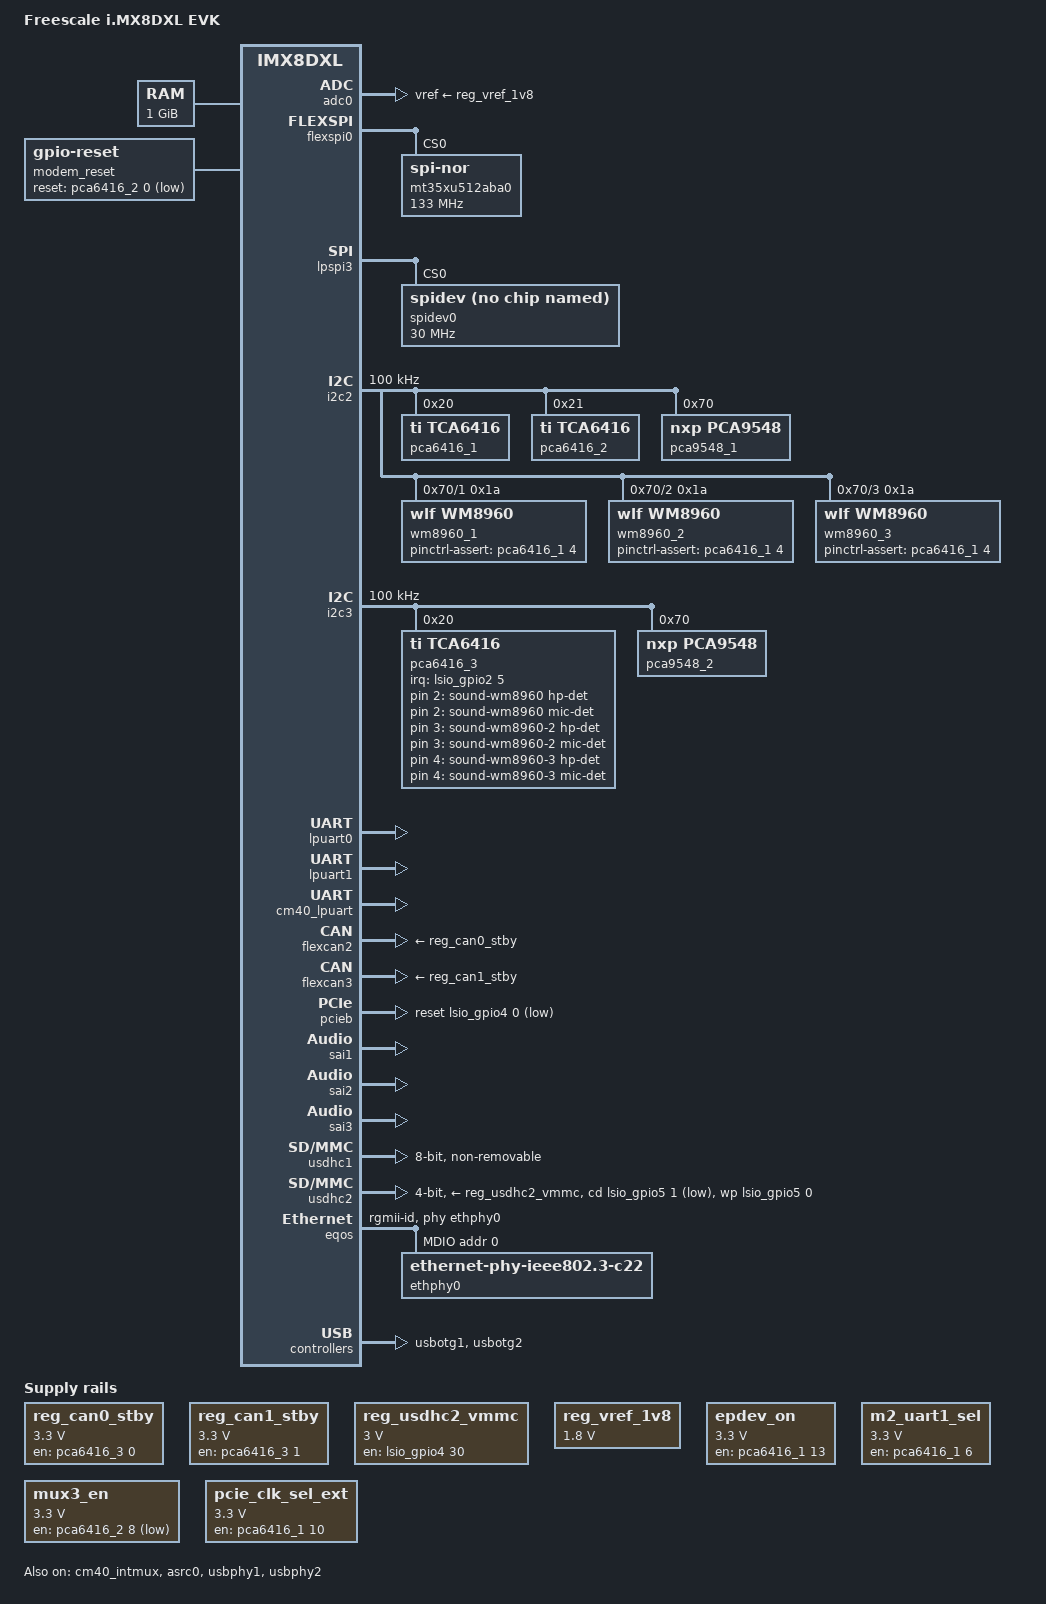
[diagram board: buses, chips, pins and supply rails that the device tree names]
// SPDX-License-Identifier: GPL-2.0+
/*
 * Copyright 2019~2020 NXP
 */

/dts-v1/;

#include "imx8dxl.dtsi"

/ {
	model = "Freescale i.MX8DXL EVK";
	compatible = "fsl,imx8dxl-mek", "fsl,imx8dxl";

	chosen {
		stdout-path = &lpuart0;
	};

	memory@80000000 {
		device_type = "memory";
		reg = <0x00000000 0x80000000 0 0x40000000>;
	};

	reserved-memory {
		#address-cells = <2>;
		#size-cells = <2>;
		ranges;

		/*
		 * 0x8800_0000 ~ 0x8FFF_FFFF is reserved for M4
		 * Shouldn't be used at A core and Linux side.
		 *
		 */
		m4_reserved: m4@0x88000000 {
			no-map;
			reg = <0 0x88000000 0 0x8000000>;
		};

		rpmsg_reserved: rpmsg@0x90200000 {
			no-map;
			reg = <0 0x90200000 0 0x200000>;
		};

/*
 *		Memory reserved for optee usage. Please do not use.
 *		This will be automaticky added to dtb if OP-TEE is installed.
 *		optee@96000000 {
 *   			reg = <0 0x96000000 0 0x2000000>;
 *			no-map;
 *		};
 */
		/* global autoconfigured region for contiguous allocations */
		linux,cma {
			compatible = "shared-dma-pool";
			reusable;
			size = <0 0x14000000>;
			alloc-ranges = <0 0x98000000 0 0x14000000>;
			linux,cma-default;
		};

		vdev0vring0: vdev0vring0@90000000 {
                        compatible = "shared-dma-pool";
			reg = <0 0x90000000 0 0x8000>;
			no-map;
		};

		vdev0vring1: vdev0vring1@90008000 {
                        compatible = "shared-dma-pool";
			reg = <0 0x90008000 0 0x8000>;
			no-map;
		};

		vdev1vring0: vdev1vring0@90010000 {
                        compatible = "shared-dma-pool";
			reg = <0 0x90010000 0 0x8000>;
			no-map;
		};

		vdev1vring1: vdev1vring1@90018000 {
                        compatible = "shared-dma-pool";
			reg = <0 0x90018000 0 0x8000>;
			no-map;
		};

		vdevbuffer: vdevbuffer {
                        compatible = "shared-dma-pool";
			reg = <0 0x90400000 0 0x100000>;
			no-map;
		};
	};

	modem_reset: modem-reset {
		compatible = "gpio-reset";
		reset-gpios = <&pca6416_2 0 GPIO_ACTIVE_LOW>;
		reset-delay-us = <2000>;
		reset-post-delay-ms = <40>;
		#reset-cells = <0>;
	};

	reg_can0_stby: regulator-can0-stby {
		compatible = "regulator-fixed";
		regulator-name = "can0-stby";
		regulator-min-microvolt = <3300000>;
		regulator-max-microvolt = <3300000>;
		gpio = <&pca6416_3 0 GPIO_ACTIVE_HIGH>;
		enable-active-high;
	};

	reg_can1_stby: regulator-can1-stby {
		compatible = "regulator-fixed";
		regulator-name = "can1-stby";
		regulator-min-microvolt = <3300000>;
		regulator-max-microvolt = <3300000>;
		gpio = <&pca6416_3 1 GPIO_ACTIVE_HIGH>;
		enable-active-high;
	};

	reg_fec1_sel: regfec1_sel {
		compatible = "regulator-fixed";
		regulator-name = "fec1_supply";
		regulator-min-microvolt = <3300000>;
		regulator-max-microvolt = <3300000>;
		gpio = <&pca6416_1 11 GPIO_ACTIVE_LOW>;
		regulator-always-on;
		status = "disabled";
	};

	reg_fec1_io: regfec1_io {
		compatible = "regulator-fixed";
		regulator-name = "fec1_io_supply";
		regulator-min-microvolt = <1800000>;
		regulator-max-microvolt = <1800000>;
		gpio = <&max7322 0 GPIO_ACTIVE_HIGH>;
		enable-active-high;
		regulator-always-on;
		status = "disabled";
	};

	reg_usdhc2_vmmc: usdhc2-vmmc {
		compatible = "regulator-fixed";
		regulator-name = "SD1_SPWR";
		regulator-min-microvolt = <3000000>;
		regulator-max-microvolt = <3000000>;
		gpio = <&lsio_gpio4 30 GPIO_ACTIVE_HIGH>;
		enable-active-high;
		off-on-delay-us = <3480>;
	};

	reg_vref_1v8: regulator-adc-vref {
		compatible = "regulator-fixed";
		regulator-name = "vref_1v8";
		regulator-min-microvolt = <1800000>;
		regulator-max-microvolt = <1800000>;
	};

	epdev_on: fixedregulator@100 {
		compatible = "regulator-fixed";
		regulator-min-microvolt = <3300000>;
		regulator-max-microvolt = <3300000>;
		regulator-name = "epdev_on";
		gpio = <&pca6416_1 13 GPIO_ACTIVE_HIGH>;
		enable-active-high;
	};

	m2_uart1_sel: fixedregulator@101 {
		compatible = "regulator-fixed";
		regulator-min-microvolt = <3300000>;
		regulator-max-microvolt = <3300000>;
		regulator-name = "m2_uart1_sel";
		gpio = <&pca6416_1 6 GPIO_ACTIVE_HIGH>;
		enable-active-high;
		regulator-always-on;
	};

	mux3_en: fixedregulator@102 {
		compatible = "regulator-fixed";
		regulator-min-microvolt = <3300000>;
		regulator-max-microvolt = <3300000>;
		regulator-name = "mux3_en";
		gpio = <&pca6416_2 8 GPIO_ACTIVE_LOW>;
		regulator-always-on;
	};

	pcie_clk_sel_ext: fixedregulator@103 {
		compatible = "regulator-fixed";
		regulator-min-microvolt = <3300000>;
		regulator-max-microvolt = <3300000>;
		regulator-name = "clk_ext_sel";
		gpio = <&pca6416_1 10 GPIO_ACTIVE_HIGH>;
		enable-active-high;
		regulator-always-on;
	};

	sound-wm8960 {
		compatible = "fsl,imx7d-evk-wm8960",
			   "fsl,imx-audio-wm8960";
		model = "wm8960-audio";
		cpu-dai = <&sai1>;
		audio-codec = <&wm8960_1>;
		asrc-controller = <&asrc0>;
		codec-master;
		/*
		 * hp-det = <hp-det-pin hp-det-polarity>;
		 * hp-det-pin: JD1 JD2  or JD3
		 * hp-det-polarity = 0: hp detect high for headphone
		 * hp-det-polarity = 1: hp detect high for speaker
		 */
		hp-det = <2 0>;
		hp-det-gpios = <&pca6416_3 2 GPIO_ACTIVE_HIGH>;
		mic-det-gpios = <&pca6416_3 2 GPIO_ACTIVE_HIGH>;
		audio-routing =
			"Headphone Jack", "HP_L",
			"Headphone Jack", "HP_R",
			"Ext Spk", "SPK_LP",
			"Ext Spk", "SPK_LN",
			"Ext Spk", "SPK_RP",
			"Ext Spk", "SPK_RN",
			"LINPUT1", "Mic Jack",
			"Mic Jack", "MICB",
			"CPU-Playback", "ASRC-Playback",
			"Playback", "CPU-Playback",
			"ASRC-Capture", "CPU-Capture",
			"CPU-Capture", "Capture";
	};

	sound-wm8960-2 {
		compatible = "fsl,imx7d-evk-wm8960",
			   "fsl,imx-audio-wm8960";
		model = "wm8960-audio-2";
		cpu-dai = <&sai2>;
		audio-codec = <&wm8960_2>;
		codec-master;
		capture-only;
		/*
		 * hp-det = <hp-det-pin hp-det-polarity>;
		 * hp-det-pin: JD1 JD2  or JD3
		 * hp-det-polarity = 0: hp detect high for headphone
		 * hp-det-polarity = 1: hp detect high for speaker
		 */
		hp-det = <2 0>;
		hp-det-gpios = <&pca6416_3 3 GPIO_ACTIVE_HIGH>;
		mic-det-gpios = <&pca6416_3 3 GPIO_ACTIVE_HIGH>;
		audio-routing =
			"Headphone Jack", "HP_L",
			"Headphone Jack", "HP_R",
			"Ext Spk", "SPK_LP",
			"Ext Spk", "SPK_LN",
			"Ext Spk", "SPK_RP",
			"Ext Spk", "SPK_RN",
			"LINPUT1", "Mic Jack",
			"Mic Jack", "MICB",
			"Playback", "CPU-Playback",
			"CPU-Capture", "Capture";
	};

	sound-wm8960-3 {
		compatible = "fsl,imx7d-evk-wm8960",
			   "fsl,imx-audio-wm8960";
		model = "wm8960-audio-3";
		cpu-dai = <&sai3>;
		audio-codec = <&wm8960_3>;
		codec-master;
		capture-only;
		/*
		 * hp-det = <hp-det-pin hp-det-polarity>;
		 * hp-det-pin: JD1 JD2  or JD3
		 * hp-det-polarity = 0: hp detect high for headphone
		 * hp-det-polarity = 1: hp detect high for speaker
		 */
		hp-det = <2 0>;
		hp-det-gpios = <&pca6416_3 4 GPIO_ACTIVE_HIGH>;
		mic-det-gpios = <&pca6416_3 4 GPIO_ACTIVE_HIGH>;
		audio-routing =
			"Headphone Jack", "HP_L",
			"Headphone Jack", "HP_R",
			"Ext Spk", "SPK_LP",
			"Ext Spk", "SPK_LN",
			"Ext Spk", "SPK_RP",
			"Ext Spk", "SPK_RN",
			"LINPUT1", "Mic Jack",
			"Mic Jack", "MICB",
			"Playback", "CPU-Playback",
			"CPU-Capture", "Capture";
	};
};

&adc0 {
	vref-supply = <&reg_vref_1v8>;
	status = "okay";
};

&flexspi0 {
	pinctrl-names = "default";
	pinctrl-0 = <&pinctrl_flexspi0>;
	interrupts = <GIC_SPI 34 IRQ_TYPE_LEVEL_HIGH>;
	status = "okay";

	mt35xu512aba0: flash@0 {
		reg = <0>;
		#address-cells = <1>;
		#size-cells = <1>;
		compatible = "jedec,spi-nor";
		spi-max-frequency = <133000000>;
		spi-tx-bus-width = <4>;
		spi-rx-bus-width = <4>;
	};
};

&imx8dxl_cm4 {
	memory-region = <&vdev0vring0>, <&vdev0vring1>, <&vdevbuffer>,
			<&vdev1vring0>, <&vdev1vring1>;
	status = "disabled";
};

&lpspi3 {
	fsl,spi-num-chipselects = <1>;
	fsl,spi-only-use-cs1-sel;
	pinctrl-names = "default";
	pinctrl-0 = <&pinctrl_lpspi3>;
	pinctrl-assert-gpios = <&pca6416_1 7 GPIO_ACTIVE_HIGH>;
	status = "okay";

	spidev0: spi@0 {
		reg = <0>;
		compatible = "rohm,dh2228fv";
		spi-max-frequency = <30000000>;
	};
};

&i2c2 {
	#address-cells = <1>;
	#size-cells = <0>;
	clock-frequency = <100000>;
	pinctrl-names = "default";
	pinctrl-0 = <&pinctrl_i2c2>;
	status = "okay";

	pca6416_1: gpio@20 {
		compatible = "ti,tca6416";
		reg = <0x20>;
		gpio-controller;
		#gpio-cells = <2>;
	};

	pca6416_2: gpio@21 {
		compatible = "ti,tca6416";
		reg = <0x21>;
		gpio-controller;
		#gpio-cells = <2>;
	};

	pca9548_1: pca9548@70 {
		compatible = "nxp,pca9548";
		#address-cells = <1>;
		#size-cells = <0>;
		reg = <0x70>;

		i2c@0 {
			#address-cells = <1>;
			#size-cells = <0>;
			reg = <0x0>;

			max7322: gpio@68 {
				compatible = "maxim,max7322";
				reg = <0x68>;
				gpio-controller;
				#gpio-cells = <2>;
				status = "disabled";
			};
		};

		i2c@1 {
			#address-cells = <1>;
			#size-cells = <0>;
			reg = <0x1>;

			wm8960_1: wm8960@1a {
				compatible = "wlf,wm8960";
				reg = <0x1a>;
				pinctrl-assert-gpios = <&pca6416_1 4 GPIO_ACTIVE_HIGH>;
				clocks = <&mclkout1_lpcg 0>;
				clock-names = "mclk";
				wlf,shared-lrclk;
				assigned-clocks = <&clk IMX_SC_R_AUDIO_PLL_0 IMX_SC_PM_CLK_PLL>,
						  <&clk IMX_SC_R_AUDIO_PLL_0 IMX_SC_PM_CLK_SLV_BUS>,
						  <&clk IMX_SC_R_AUDIO_PLL_0 IMX_SC_PM_CLK_MST_BUS>,
						  <&mclkout1_lpcg 0>;
				assigned-clock-rates = <786432000>, <49152000>, <12288000>, <12288000>;
			};
		};

		i2c@2 {
			#address-cells = <1>;
			#size-cells = <0>;
			reg = <0x2>;

			wm8960_2: wm8960@1a {
				compatible = "wlf,wm8960";
				reg = <0x1a>;
				pinctrl-assert-gpios = <&pca6416_1 4 GPIO_ACTIVE_HIGH>;
				clocks = <&mclkout1_lpcg 0>;
				clock-names = "mclk";
				wlf,shared-lrclk;
				assigned-clocks = <&clk IMX_SC_R_AUDIO_PLL_0 IMX_SC_PM_CLK_PLL>,
						  <&clk IMX_SC_R_AUDIO_PLL_0 IMX_SC_PM_CLK_SLV_BUS>,
						  <&clk IMX_SC_R_AUDIO_PLL_0 IMX_SC_PM_CLK_MST_BUS>,
						  <&mclkout1_lpcg 0>;
				assigned-clock-rates = <786432000>, <49152000>, <12288000>, <12288000>;
			};
		};

		i2c@3 {
			#address-cells = <1>;
			#size-cells = <0>;
			reg = <0x3>;

			wm8960_3: wm8960@1a {
				compatible = "wlf,wm8960";
				reg = <0x1a>;
				pinctrl-assert-gpios = <&pca6416_1 4 GPIO_ACTIVE_HIGH>;
				clocks = <&mclkout1_lpcg 0>;
				clock-names = "mclk";
				wlf,shared-lrclk;
				assigned-clocks = <&clk IMX_SC_R_AUDIO_PLL_0 IMX_SC_PM_CLK_PLL>,
						  <&clk IMX_SC_R_AUDIO_PLL_0 IMX_SC_PM_CLK_SLV_BUS>,
						  <&clk IMX_SC_R_AUDIO_PLL_0 IMX_SC_PM_CLK_MST_BUS>,
						  <&mclkout1_lpcg 0>;
				assigned-clock-rates = <786432000>, <49152000>, <12288000>, <12288000>;
			};
		};

		i2c@4 {
			#address-cells = <1>;
			#size-cells = <0>;
			reg = <0x4>;
		};

		i2c@5 {
			#address-cells = <1>;
			#size-cells = <0>;
			reg = <0x5>;
		};

		i2c@6 {
			#address-cells = <1>;
			#size-cells = <0>;
			reg = <0x6>;
		};
	};
};

&i2c3 {
	#address-cells = <1>;
	#size-cells = <0>;
	clock-frequency = <100000>;
	pinctrl-names = "default";
	pinctrl-0 = <&pinctrl_i2c3>;
	status = "okay";

	pca6416_3: gpio@20 {
		compatible = "ti,tca6416";
		reg = <0x20>;
		gpio-controller;
		#gpio-cells = <2>;
		interrupt-parent = <&lsio_gpio2>;
		interrupts = <5 IRQ_TYPE_EDGE_RISING>;
	};

	pca9548_2: pca9548@70 {
		compatible = "nxp,pca9548";
		#address-cells = <1>;
		#size-cells = <0>;
		reg = <0x70>;

		i2c@0 {
			#address-cells = <1>;
			#size-cells = <0>;
			reg = <0x0>;
		};

		i2c@1 {
			#address-cells = <1>;
			#size-cells = <0>;
			reg = <0x1>;
		};

		i2c@2 {
			#address-cells = <1>;
			#size-cells = <0>;
			reg = <0x2>;
		};

		i2c@3 {
			#address-cells = <1>;
			#size-cells = <0>;
			reg = <0x3>;
		};

		i2c@4 {
			#address-cells = <1>;
			#size-cells = <0>;
			reg = <0x4>;
		};
	};
};

&cm40_intmux {
	status = "okay";
};

&lpuart0 {
	pinctrl-names = "default";
	pinctrl-0 = <&pinctrl_lpuart0>;
	status = "okay";
};

&lpuart1 {
	pinctrl-names = "default";
	pinctrl-0 = <&pinctrl_lpuart1>;
	resets = <&modem_reset>;
	status = "okay";
};

&cm40_lpuart {
	pinctrl-names = "default";
	pinctrl-0 = <&pinctrl_cm40_lpuart>;
	status = "okay";
};

&flexcan2 {
	pinctrl-names = "default";
	pinctrl-0 = <&pinctrl_flexcan2>;
	xceiver-supply = <&reg_can0_stby>;
	status = "okay";
};

&flexcan3 {
	pinctrl-names = "default";
	pinctrl-0 = <&pinctrl_flexcan3>;
	xceiver-supply = <&reg_can1_stby>;
	status = "okay";
};

&lsio_gpio4 {
	status = "okay";
};

&lsio_gpio5 {
	status = "okay";
};

&pcieb{
	compatible = "fsl,imx8qxp-pcie","snps,dw-pcie";
	pinctrl-names = "default";
	pinctrl-0 = <&pinctrl_pcieb>;
	clkreq-gpio = <&lsio_gpio4 1 GPIO_ACTIVE_LOW>;
	reset-gpio = <&lsio_gpio4 0 GPIO_ACTIVE_LOW>;
	ext_osc = <0>;
	epdev_on-supply = <&epdev_on>;
	reserved-region = <&rpmsg_reserved>;
	status = "okay";
};

&pcieb_ep{
	compatible = "fsl,imx8qxp-pcie-ep";
	pinctrl-names = "default";
	pinctrl-0 = <&pinctrl_pcieb>;
	ext_osc = <0>;
	status = "disabled";
};

&asrc0 {
	fsl,asrc-rate  = <48000>;
	status = "okay";
};

&sai1 {
	assigned-clocks = <&clk IMX_SC_R_AUDIO_PLL_0 IMX_SC_PM_CLK_PLL>,
			<&clk IMX_SC_R_AUDIO_PLL_0 IMX_SC_PM_CLK_SLV_BUS>,
			<&clk IMX_SC_R_AUDIO_PLL_0 IMX_SC_PM_CLK_MST_BUS>,
			<&sai1_lpcg 0>;
	assigned-clock-rates = <786432000>, <49152000>, <12288000>, <49152000>;
	pinctrl-names = "default";
	pinctrl-0 = <&pinctrl_sai1>;
	status = "okay";
};

&sai2 {
	assigned-clocks = <&clk IMX_SC_R_AUDIO_PLL_0 IMX_SC_PM_CLK_PLL>,
			<&clk IMX_SC_R_AUDIO_PLL_0 IMX_SC_PM_CLK_SLV_BUS>,
			<&clk IMX_SC_R_AUDIO_PLL_0 IMX_SC_PM_CLK_MST_BUS>,
			<&sai2_lpcg 0>;
	assigned-clock-rates = <786432000>, <49152000>, <12288000>, <49152000>;
	pinctrl-names = "default";
	pinctrl-0 = <&pinctrl_sai2>;
	fsl,sai-asynchronous;
	status = "okay";
};

&sai3 {
	assigned-clocks = <&clk IMX_SC_R_AUDIO_PLL_0 IMX_SC_PM_CLK_PLL>,
			<&clk IMX_SC_R_AUDIO_PLL_0 IMX_SC_PM_CLK_SLV_BUS>,
			<&clk IMX_SC_R_AUDIO_PLL_0 IMX_SC_PM_CLK_MST_BUS>,
			<&sai3_lpcg 0>;
	assigned-clock-rates = <786432000>, <49152000>, <12288000>, <49152000>;
	pinctrl-names = "default";
	pinctrl-0 = <&pinctrl_sai3>;
	fsl,sai-asynchronous;
	status = "okay";
};

&thermal_zones {
	pmic-thermal0 {
		polling-delay-passive = <250>;
		polling-delay = <2000>;
		thermal-sensors = <&tsens 497>;
		trips {
			pmic_alert0: trip0 {
				temperature = <110000>;
				hysteresis = <2000>;
				type = "passive";
			};
			pmic_crit0: trip1 {
				temperature = <125000>;
				hysteresis = <2000>;
				type = "critical";
			};
		};
		cooling-maps {
			map0 {
				trip = <&pmic_alert0>;
				cooling-device =
					<&A35_0 THERMAL_NO_LIMIT THERMAL_NO_LIMIT>,
					<&A35_1 THERMAL_NO_LIMIT THERMAL_NO_LIMIT>;
			};
		};
	};
};

&usdhc1 {
		pinctrl-names = "default", "state_100mhz", "state_200mhz";
		pinctrl-0 = <&pinctrl_usdhc1>;
		pinctrl-1 = <&pinctrl_usdhc1_100mhz>;
		pinctrl-2 = <&pinctrl_usdhc1_200mhz>;
		bus-width = <8>;
		no-sd;
		no-sdio;
		non-removable;
		status = "okay";
};

&usdhc2 {
		pinctrl-names = "default", "state_100mhz", "state_200mhz";
		pinctrl-0 = <&pinctrl_usdhc2>, <&pinctrl_usdhc2_gpio>;
		pinctrl-1 = <&pinctrl_usdhc2_100mhz>, <&pinctrl_usdhc2_gpio>;
		pinctrl-2 = <&pinctrl_usdhc2_200mhz>, <&pinctrl_usdhc2_gpio>;
		bus-width = <4>;
		vmmc-supply = <&reg_usdhc2_vmmc>;
		cd-gpios = <&lsio_gpio5 1 GPIO_ACTIVE_LOW>;
		wp-gpios = <&lsio_gpio5 0 GPIO_ACTIVE_HIGH>;
		max-frequency = <100000000>;
		status = "okay";
};

&eqos {
	pinctrl-names = "default";
	pinctrl-0 = <&pinctrl_eqos>;
	phy-mode = "rgmii-id";
	phy-handle = <&ethphy0>;
	nvmem-cells = <&fec_mac1>;
	nvmem-cell-names = "mac-address";
	snps,reset-gpios = <&pca6416_1 2 GPIO_ACTIVE_LOW>;
	snps,reset-delays-us = <10 20 200000>;
	status = "okay";

	mdio {
		compatible = "snps,dwmac-mdio";
		#address-cells = <1>;
		#size-cells = <0>;

		ethphy0: ethernet-phy@0 {
			compatible = "ethernet-phy-ieee802.3-c22";
			reg = <0>;
			eee-broken-1000t;
			at803x,eee-disabled;
			at803x,vddio-1p8v;
		};

	};
};

&fec1 {
	pinctrl-names = "default";
	pinctrl-0 = <&pinctrl_fec1>;
	phy-mode = "rgmii-txid";
	phy-handle = <&ethphy1>;
	fsl,magic-packet;
	fsl,rgmii_rxc_dly;
	nvmem-cells = <&fec_mac0>;
	nvmem-cell-names = "mac-address";
	phy-reset-gpios = <&pca6416_1 0 GPIO_ACTIVE_LOW>;
	phy-reset-duration = <10>;
	phy-reset-post-delay = <150>;
	status = "disabled";

	mdio {
		#address-cells = <1>;
		#size-cells = <0>;

		ethphy1: ethernet-phy@1 {
			compatible = "ethernet-phy-ieee802.3-c22";
			reg = <1>;
			at803x,eee-disabled;
			at803x,vddio-1p8v;
		};
	};
};

&usbphy1 {
        status = "okay";
};

&usbotg1 {
	pinctrl-names = "default";
	pinctrl-0 = <&pinctrl_usbotg1>;
	srp-disable;
	hnp-disable;
	adp-disable;
	power-active-high;
	disable-over-current;
	status = "okay";
};

&usbphy2 {
	status = "okay";
};

&usbotg2 {
	pinctrl-names = "default";
	pinctrl-0 = <&pinctrl_usbotg2>;
	srp-disable;
	hnp-disable;
	adp-disable;
	power-active-high;
	disable-over-current;
	status = "okay";
};

&iomuxc {
	pinctrl-names = "default";
	pinctrl-0 = <&pinctrl_hog>;

		pinctrl_hog: hoggrp {
			fsl,pins = <
				IMX8DXL_COMP_CTL_GPIO_1V8_3V3_GPIORHB_PAD	0x000514a0
				IMX8DXL_COMP_CTL_GPIO_1V8_3V3_GPIORHK_PAD	0x000014a0
				IMX8DXL_SPI3_CS0_ADMA_ACM_MCLK_OUT1		0x0600004c
				IMX8DXL_SNVS_TAMPER_OUT1_LSIO_GPIO2_IO05_IN	0x0600004c
			>;
		};

		pinctrl_usbotg1: otg1 {
			fsl,pins = <
				IMX8DXL_USB_SS3_TC0_CONN_USB_OTG1_PWR		0x00000021
			>;
		};

		pinctrl_usbotg2: otg2 {
			fsl,pins = <
				IMX8DXL_USB_SS3_TC1_CONN_USB_OTG2_PWR		0x00000021
			>;
		};

		pinctrl_eqos: eqosgrp {
			fsl,pins = <
				IMX8DXL_ENET0_MDC_CONN_EQOS_MDC				0x06000020
				IMX8DXL_ENET0_MDIO_CONN_EQOS_MDIO			0x06000020
				IMX8DXL_ENET1_RGMII_TX_CTL_CONN_EQOS_RGMII_TX_CTL	0x06000020
				IMX8DXL_ENET1_RGMII_TXC_CONN_EQOS_RGMII_TXC		0x06000020
				IMX8DXL_ENET1_RGMII_TXD0_CONN_EQOS_RGMII_TXD0		0x06000020
				IMX8DXL_ENET1_RGMII_TXD1_CONN_EQOS_RGMII_TXD1		0x06000020
				IMX8DXL_ENET1_RGMII_TXD2_CONN_EQOS_RGMII_TXD2		0x06000020
				IMX8DXL_ENET1_RGMII_TXD3_CONN_EQOS_RGMII_TXD3		0x06000020
				IMX8DXL_ENET1_RGMII_RXC_CONN_EQOS_RGMII_RXC		0x06000020
				IMX8DXL_ENET1_RGMII_RX_CTL_CONN_EQOS_RGMII_RX_CTL	0x06000020
				IMX8DXL_ENET1_RGMII_RXD0_CONN_EQOS_RGMII_RXD0		0x06000020
				IMX8DXL_ENET1_RGMII_RXD1_CONN_EQOS_RGMII_RXD1		0x06000020
				IMX8DXL_ENET1_RGMII_RXD2_CONN_EQOS_RGMII_RXD2		0x06000020
				IMX8DXL_ENET1_RGMII_RXD3_CONN_EQOS_RGMII_RXD3		0x06000020
			>;
		};

		pinctrl_fec1: fec1grp {
			fsl,pins = <
				IMX8DXL_COMP_CTL_GPIO_1V8_3V3_ENET_ENETB0_PAD	0x000014a0
				IMX8DXL_COMP_CTL_GPIO_1V8_3V3_ENET_ENETB1_PAD	0x000014a0
				IMX8DXL_ENET0_MDC_CONN_ENET0_MDC			0x06000020
				IMX8DXL_ENET0_MDIO_CONN_ENET0_MDIO			0x06000020
				IMX8DXL_ENET0_RGMII_TX_CTL_CONN_ENET0_RGMII_TX_CTL	0x00000060
				IMX8DXL_ENET0_RGMII_TXC_CONN_ENET0_RGMII_TXC	0x00000060
				IMX8DXL_ENET0_RGMII_TXD0_CONN_ENET0_RGMII_TXD0	0x00000060
				IMX8DXL_ENET0_RGMII_TXD1_CONN_ENET0_RGMII_TXD1	0x00000060
				IMX8DXL_ENET0_RGMII_TXD2_CONN_ENET0_RGMII_TXD2	0x00000060
				IMX8DXL_ENET0_RGMII_TXD3_CONN_ENET0_RGMII_TXD3	0x00000060
				IMX8DXL_ENET0_RGMII_RXC_CONN_ENET0_RGMII_RXC	0x00000060
				IMX8DXL_ENET0_RGMII_RX_CTL_CONN_ENET0_RGMII_RX_CTL	0x00000060
				IMX8DXL_ENET0_RGMII_RXD0_CONN_ENET0_RGMII_RXD0	0x00000060
				IMX8DXL_ENET0_RGMII_RXD1_CONN_ENET0_RGMII_RXD1	0x00000060
				IMX8DXL_ENET0_RGMII_RXD2_CONN_ENET0_RGMII_RXD2	0x00000060
				IMX8DXL_ENET0_RGMII_RXD3_CONN_ENET0_RGMII_RXD3	0x00000060
			>;
		};

		pinctrl_flexspi0: flexspi0grp {
			fsl,pins = <
				IMX8DXL_QSPI0A_DATA0_LSIO_QSPI0A_DATA0     0x06000021
				IMX8DXL_QSPI0A_DATA1_LSIO_QSPI0A_DATA1     0x06000021
				IMX8DXL_QSPI0A_DATA2_LSIO_QSPI0A_DATA2     0x06000021
				IMX8DXL_QSPI0A_DATA3_LSIO_QSPI0A_DATA3     0x06000021
				IMX8DXL_QSPI0A_DQS_LSIO_QSPI0A_DQS         0x06000021
				IMX8DXL_QSPI0A_SS0_B_LSIO_QSPI0A_SS0_B     0x06000021
				IMX8DXL_QSPI0A_SCLK_LSIO_QSPI0A_SCLK       0x06000021
				IMX8DXL_QSPI0B_SCLK_LSIO_QSPI0B_SCLK       0x06000021
				IMX8DXL_QSPI0B_DATA0_LSIO_QSPI0B_DATA0     0x06000021
				IMX8DXL_QSPI0B_DATA1_LSIO_QSPI0B_DATA1     0x06000021
				IMX8DXL_QSPI0B_DATA2_LSIO_QSPI0B_DATA2     0x06000021
				IMX8DXL_QSPI0B_DATA3_LSIO_QSPI0B_DATA3     0x06000021
				IMX8DXL_QSPI0B_DQS_LSIO_QSPI0B_DQS         0x06000021
				IMX8DXL_QSPI0B_SS0_B_LSIO_QSPI0B_SS0_B     0x06000021
			>;
		};

		pinctrl_lpspi3: lpspi3grp {
			fsl,pins = <
				IMX8DXL_SPI3_SCK_ADMA_SPI3_SCK		0x600004c
				IMX8DXL_SPI3_SDO_ADMA_SPI3_SDO		0x600004c
				IMX8DXL_SPI3_SDI_ADMA_SPI3_SDI		0x600004c
				IMX8DXL_SPI3_CS1_ADMA_SPI3_CS1		0x600004c
			>;
		};

		pinctrl_i2c2: i2c2grp {
			fsl,pins = <
				IMX8DXL_SPI1_SCK_ADMA_I2C2_SDA		0x06000021
				IMX8DXL_SPI1_SDO_ADMA_I2C2_SCL		0x06000021
			>;
		};

		pinctrl_i2c3: i2c3grp {
			fsl,pins = <
				IMX8DXL_SPI1_CS0_ADMA_I2C3_SDA		0x06000021
				IMX8DXL_SPI1_SDI_ADMA_I2C3_SCL		0x06000021
			>;
		};

		pinctrl_lpuart0: lpuart0grp {
			fsl,pins = <
				IMX8DXL_UART0_RX_ADMA_UART0_RX		0x06000020
				IMX8DXL_UART0_TX_ADMA_UART0_TX		0x06000020
			>;
		};

               pinctrl_lpuart1: lpuart1grp {
                       fsl,pins = <
				IMX8DXL_UART1_TX_ADMA_UART1_TX          0x06000020
				IMX8DXL_UART1_RX_ADMA_UART1_RX          0x06000020
				IMX8DXL_UART1_RTS_B_ADMA_UART1_RTS_B    0x06000020
				IMX8DXL_UART1_CTS_B_ADMA_UART1_CTS_B    0x06000020
                       >;
               };

		pinctrl_cm40_lpuart: cm40_lpuartgrp {
			fsl,pins = <
				IMX8DXL_ADC_IN2_M40_UART0_RX		0x06000020
				IMX8DXL_ADC_IN3_M40_UART0_TX		0x06000020
			>;
		};

		pinctrl_flexcan2: flexcan2grp {
			fsl,pins = <
				IMX8DXL_UART2_TX_ADMA_FLEXCAN1_TX	0x00000021
				IMX8DXL_UART2_RX_ADMA_FLEXCAN1_RX	0x00000021
			>;
		};

		pinctrl_flexcan3: flexcan3grp {
			fsl,pins = <
				IMX8DXL_FLEXCAN2_TX_ADMA_FLEXCAN2_TX	0x00000021
				IMX8DXL_FLEXCAN2_RX_ADMA_FLEXCAN2_RX	0x00000021
			>;
		};

		pinctrl_sai1: sai1grp {
			fsl,pins = <
				IMX8DXL_FLEXCAN0_RX_ADMA_SAI1_TXC     0x06000040
				IMX8DXL_FLEXCAN0_TX_ADMA_SAI1_TXFS    0x06000040
				IMX8DXL_FLEXCAN1_RX_ADMA_SAI1_TXD     0x06000060
				IMX8DXL_FLEXCAN1_TX_ADMA_SAI1_RXD     0x06000060
			>;
		};

		pinctrl_sai2: sai2grp {
			fsl,pins = <
				IMX8DXL_SNVS_TAMPER_OUT3_ADMA_SAI2_RXC   0x06000040
				IMX8DXL_SNVS_TAMPER_IN0_ADMA_SAI2_RXFS   0x06000040
				IMX8DXL_SNVS_TAMPER_OUT4_ADMA_SAI2_RXD   0x06000060
			>;
		};

		pinctrl_sai3: sai3grp {
			fsl,pins = <
				IMX8DXL_SNVS_TAMPER_IN1_ADMA_SAI3_RXC    0x06000040
				IMX8DXL_SNVS_TAMPER_IN3_ADMA_SAI3_RXFS   0x06000040
				IMX8DXL_SNVS_TAMPER_IN2_ADMA_SAI3_RXD    0x06000060
			>;
		};

		pinctrl_usdhc1: usdhc1grp {
			fsl,pins = <
				IMX8DXL_EMMC0_CLK_CONN_EMMC0_CLK	0x06000041
				IMX8DXL_EMMC0_CMD_CONN_EMMC0_CMD	0x00000021
				IMX8DXL_EMMC0_DATA0_CONN_EMMC0_DATA0	0x00000021
				IMX8DXL_EMMC0_DATA1_CONN_EMMC0_DATA1	0x00000021
				IMX8DXL_EMMC0_DATA2_CONN_EMMC0_DATA2	0x00000021
				IMX8DXL_EMMC0_DATA3_CONN_EMMC0_DATA3	0x00000021
				IMX8DXL_EMMC0_DATA4_CONN_EMMC0_DATA4	0x00000021
				IMX8DXL_EMMC0_DATA5_CONN_EMMC0_DATA5	0x00000021
				IMX8DXL_EMMC0_DATA6_CONN_EMMC0_DATA6	0x00000021
				IMX8DXL_EMMC0_DATA7_CONN_EMMC0_DATA7	0x00000021
				IMX8DXL_EMMC0_STROBE_CONN_EMMC0_STROBE	0x00000041
			>;
		};

		pinctrl_usdhc1_100mhz: usdhc1grp100mhz {
			fsl,pins = <
				IMX8DXL_EMMC0_CLK_CONN_EMMC0_CLK	0x06000041
				IMX8DXL_EMMC0_CMD_CONN_EMMC0_CMD	0x00000021
				IMX8DXL_EMMC0_DATA0_CONN_EMMC0_DATA0	0x00000021
				IMX8DXL_EMMC0_DATA1_CONN_EMMC0_DATA1	0x00000021
				IMX8DXL_EMMC0_DATA2_CONN_EMMC0_DATA2	0x00000021
				IMX8DXL_EMMC0_DATA3_CONN_EMMC0_DATA3	0x00000021
				IMX8DXL_EMMC0_DATA4_CONN_EMMC0_DATA4	0x00000021
				IMX8DXL_EMMC0_DATA5_CONN_EMMC0_DATA5	0x00000021
				IMX8DXL_EMMC0_DATA6_CONN_EMMC0_DATA6	0x00000021
				IMX8DXL_EMMC0_DATA7_CONN_EMMC0_DATA7	0x00000021
				IMX8DXL_EMMC0_STROBE_CONN_EMMC0_STROBE	0x00000041
			>;
		};

		pinctrl_usdhc1_200mhz: usdhc1grp200mhz {
			fsl,pins = <
				IMX8DXL_EMMC0_CLK_CONN_EMMC0_CLK	0x06000041
				IMX8DXL_EMMC0_CMD_CONN_EMMC0_CMD	0x00000021
				IMX8DXL_EMMC0_DATA0_CONN_EMMC0_DATA0	0x00000021
				IMX8DXL_EMMC0_DATA1_CONN_EMMC0_DATA1	0x00000021
				IMX8DXL_EMMC0_DATA2_CONN_EMMC0_DATA2	0x00000021
				IMX8DXL_EMMC0_DATA3_CONN_EMMC0_DATA3	0x00000021
				IMX8DXL_EMMC0_DATA4_CONN_EMMC0_DATA4	0x00000021
				IMX8DXL_EMMC0_DATA5_CONN_EMMC0_DATA5	0x00000021
				IMX8DXL_EMMC0_DATA6_CONN_EMMC0_DATA6	0x00000021
				IMX8DXL_EMMC0_DATA7_CONN_EMMC0_DATA7	0x00000021
				IMX8DXL_EMMC0_STROBE_CONN_EMMC0_STROBE	0x00000041
			>;
		};

		pinctrl_usdhc2_gpio: usdhc2gpiogrp {
			fsl,pins = <
				IMX8DXL_ENET0_RGMII_TX_CTL_LSIO_GPIO4_IO30	0x00000040 /* RESET_B */
				IMX8DXL_ENET0_RGMII_TXD1_LSIO_GPIO5_IO00	0x00000021 /* WP */
				IMX8DXL_ENET0_RGMII_TXD2_LSIO_GPIO5_IO01	0x00000021 /* CD */
			>;
		};

		pinctrl_usdhc2: usdhc2grp {
			fsl,pins = <
				IMX8DXL_ENET0_RGMII_RXC_CONN_USDHC1_CLK		0x06000041
				IMX8DXL_ENET0_RGMII_RX_CTL_CONN_USDHC1_CMD	0x00000021
				IMX8DXL_ENET0_RGMII_RXD0_CONN_USDHC1_DATA0	0x00000021
				IMX8DXL_ENET0_RGMII_RXD1_CONN_USDHC1_DATA1	0x00000021
				IMX8DXL_ENET0_RGMII_RXD2_CONN_USDHC1_DATA2	0x00000021
				IMX8DXL_ENET0_RGMII_RXD3_CONN_USDHC1_DATA3	0x00000021
				IMX8DXL_ENET0_RGMII_TXD0_CONN_USDHC1_VSELECT	0x00000021
			>;
		};

		pinctrl_usdhc2_100mhz: usdhc2grp100mhz {
			fsl,pins = <
				IMX8DXL_ENET0_RGMII_RXC_CONN_USDHC1_CLK		0x06000041
				IMX8DXL_ENET0_RGMII_RX_CTL_CONN_USDHC1_CMD	0x00000021
				IMX8DXL_ENET0_RGMII_RXD0_CONN_USDHC1_DATA0	0x00000021
				IMX8DXL_ENET0_RGMII_RXD1_CONN_USDHC1_DATA1	0x00000021
				IMX8DXL_ENET0_RGMII_RXD2_CONN_USDHC1_DATA2	0x00000021
				IMX8DXL_ENET0_RGMII_RXD3_CONN_USDHC1_DATA3	0x00000021
				IMX8DXL_ENET0_RGMII_TXD0_CONN_USDHC1_VSELECT	0x00000021
			>;
		};

		pinctrl_usdhc2_200mhz: usdhc2grp200mhz {
			fsl,pins = <
				IMX8DXL_ENET0_RGMII_RXC_CONN_USDHC1_CLK		0x06000041
				IMX8DXL_ENET0_RGMII_RX_CTL_CONN_USDHC1_CMD	0x00000021
				IMX8DXL_ENET0_RGMII_RXD0_CONN_USDHC1_DATA0	0x00000021
				IMX8DXL_ENET0_RGMII_RXD1_CONN_USDHC1_DATA1	0x00000021
				IMX8DXL_ENET0_RGMII_RXD2_CONN_USDHC1_DATA2	0x00000021
				IMX8DXL_ENET0_RGMII_RXD3_CONN_USDHC1_DATA3	0x00000021
				IMX8DXL_ENET0_RGMII_TXD0_CONN_USDHC1_VSELECT	0x00000021
			>;
		};

		pinctrl_pcieb: pcieagrp{
			fsl,pins = <
				IMX8DXL_PCIE_CTRL0_PERST_B_LSIO_GPIO4_IO00	0x06000021
				IMX8DXL_PCIE_CTRL0_CLKREQ_B_LSIO_GPIO4_IO01	0x06000021
				IMX8DXL_PCIE_CTRL0_WAKE_B_LSIO_GPIO4_IO02	0x04000021
			>;
		};
};
